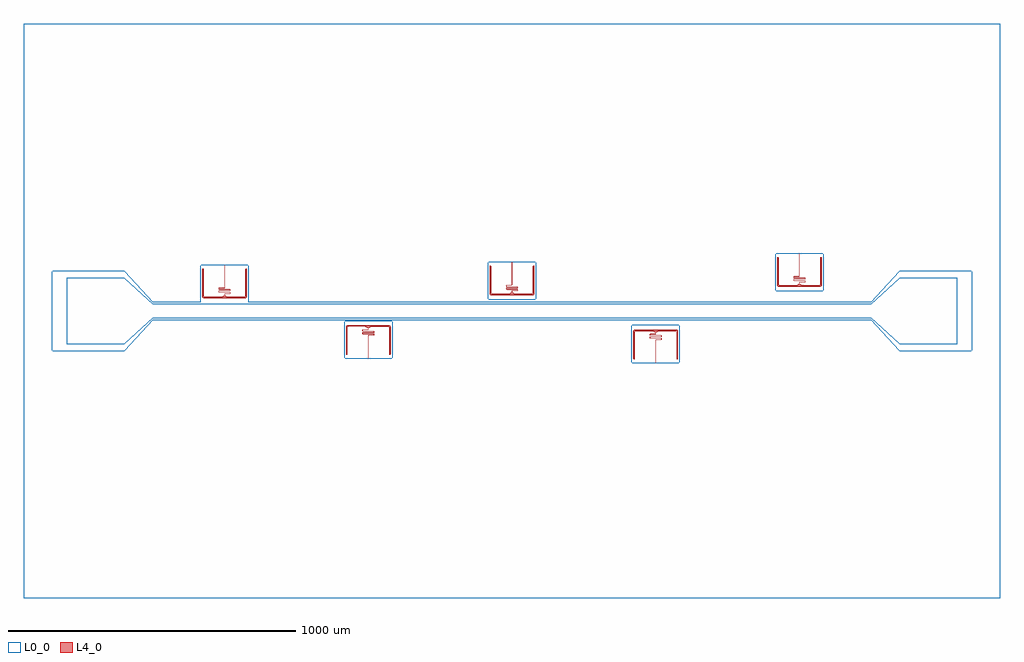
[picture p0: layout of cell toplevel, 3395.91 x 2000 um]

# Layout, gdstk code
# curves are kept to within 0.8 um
import gdstk
lib = gdstk.Library(unit=1e-6, precision=1e-09)
def P(c, l, *ps):  # polygons
    for p in ps: c.add(gdstk.Polygon(p, *l))
L0_0 = (0, 0)
L4_0 = (4, 0)

toplevel = lib.new_cell('toplevel')
P(toplevel, L0_0, [(1697.954,1000),(-1697.954,1000),(-1697.954,-137.954),(-1600,-137.954),(-1600,137.954),(-1350,137.954),(-1250,30.05),(-1082.5,30.05),(-1082.5,160.05),(-917.5,160.05),(-917.5,40.05),(-82.5,40.05),(-82.5,170.05),(82.5,170.05),(82.5,70.05),(917.5,70.05),(917.5,200.05),(1082.5,200.05),(1082.5,70.05),(82.5,70.05),(82.5,40.05),(-917.5,40.05),(-917.5,30.05),(1250,30.05),(1350,137.954),(1600,137.954),(1600,-137.954),(1350,-137.954),(1250,-30.05),(-1250,-30.05),(-1350,-137.954),(-1697.954,-137.954),(-1697.954,-165.05),(-582.5,-165.05),(-582.5,-35.05),(-417.5,-35.05),(-417.5,-165.05),(-1697.954,-165.05),(-1697.954,-180.05),(417.5,-180.05),(417.5,-50.05),(582.5,-50.05),(582.5,-180.05),(-1697.954,-180.05),(-1697.954,-1000),(1697.954,-1000)],
  [(-1250,25.05),(-1350,115),(-1550,115),(-1550,-115),(-1350,-115),(-1250,-25.05),(1250,-25.05),(1350,-115),(1550,-115),(1550,115),(1350,115),(1250,25.05)])
P(toplevel, L4_0, [(-1070.458,45.05),(-1073.313,45.356),(-1075.466,46.473),(-1076.915,48.45),(-1077.475,51.004),(-1077.5,145.05),(-1076.434,147.098),(-1075.109,147.548),(-1073.846,147.268),(-1072.891,146.393),(-1072.502,145.159),(-1072.496,51.622),(-1072.244,50.297),(-1070.62,50.05),(-1010,50.05),(-1000.3,54.95),(-1000.277,59.276),(-999.54,60.18),(-980.418,60.434),(-980.316,64.185),(-980.803,64.639),(-1019.048,64.651),(-1020.263,65.541),(-1020.262,69.365),(-1019.294,70.231),(-981.015,70.25),(-980.327,70.651),(-980.312,74.156),(-980.79,74.637),(-1019.042,74.651),(-1020.256,75.508),(-1020.272,79.308),(-1019.481,80.196),(-1000.971,80.251),(-1000.331,80.633),(-1000.3,159.95),(-999.7,159.95),(-999.747,80.495),(-1000.882,79.654),(-1019.325,79.617),(-1019.692,79.113),(-1019.67,75.64),(-1018.985,75.25),(-980.705,75.231),(-979.738,74.365),(-979.74,70.528),(-980.957,69.651),(-1019.21,69.637),(-1019.688,69.156),(-1019.482,65.344),(-980.088,64.984),(-979.7,61.072),(-980.309,59.778),(-999.599,59.442),(-999.7,54.95),(-990,50.05),(-927.777,50.281),(-927.498,145.159),(-926.915,146.657),(-925.647,147.465),(-924.145,147.399),(-922.952,146.484),(-922.5,145.05),(-922.503,51.613),(-923.1,48.415),(-924.934,46.168),(-926.821,45.32),(-929.332,45.05)],
  [(-500.3,-164.95),(-500.253,-85.495),(-499.118,-84.654),(-480.675,-84.617),(-480.308,-84.113),(-480.329,-80.64),(-481.015,-80.25),(-519.294,-80.231),(-520.262,-79.365),(-520.26,-75.528),(-519.042,-74.651),(-480.79,-74.637),(-480.312,-74.156),(-480.518,-70.344),(-519.912,-69.984),(-520.3,-66.072),(-519.691,-64.778),(-500.401,-64.442),(-500.3,-59.95),(-510,-55.05),(-572.243,-55.296),(-572.502,-150.159),(-573.393,-151.965),(-575.434,-152.512),(-576.915,-151.657),(-577.5,-150.05),(-577.498,-56.688),(-577.23,-54.371),(-576.428,-52.552),(-574.1,-50.635),(-570.668,-50.05),(-429.332,-50.05),(-426.888,-50.303),(-425.002,-51.122),(-423.1,-53.415),(-422.5,-56.93),(-422.502,-150.159),(-423.085,-151.657),(-424.566,-152.512),(-426.607,-151.965),(-427.498,-150.159),(-427.757,-55.296),(-490,-55.05),(-499.7,-59.95),(-499.723,-64.276),(-500.46,-65.18),(-519.582,-65.434),(-519.684,-69.185),(-519.197,-69.639),(-480.952,-69.651),(-479.737,-70.541),(-479.738,-74.365),(-480.706,-75.231),(-518.985,-75.25),(-519.673,-75.651),(-519.688,-79.156),(-519.21,-79.637),(-480.957,-79.651),(-479.744,-80.508),(-479.728,-84.308),(-480.519,-85.196),(-499.029,-85.251),(-499.669,-85.633),(-499.7,-164.95)],
  [(-70.459,55.05),(-73.313,55.356),(-75.466,56.473),(-76.9,58.415),(-77.478,61.059),(-77.5,155.05),(-76.434,157.098),(-75.218,157.54),(-73.943,157.316),(-72.891,156.393),(-72.502,155.159),(-72.498,61.715),(-72.243,60.296),(-70.62,60.05),(-10,60.05),(-0.3,64.95),(-0.277,69.276),(0.46,70.18),(19.582,70.434),(19.684,74.185),(19.197,74.639),(-19.048,74.651),(-20.263,75.541),(-20.262,79.365),(-19.294,80.231),(18.985,80.25),(19.673,80.651),(19.688,84.156),(19.21,84.637),(-19.042,84.651),(-20.256,85.508),(-20.272,89.308),(-19.481,90.196),(-0.971,90.251),(-0.331,90.633),(-0.3,169.95),(0.3,169.95),(0.253,90.495),(-0.882,89.654),(-19.325,89.617),(-19.692,89.113),(-19.67,85.64),(-18.985,85.25),(19.294,85.232),(20.262,84.365),(20.26,80.528),(19.042,79.651),(-19.21,79.637),(-19.688,79.156),(-19.482,75.344),(19.912,74.984),(20.3,71.072),(19.691,69.778),(0.401,69.442),(0.3,64.95),(10,60.05),(72.223,60.281),(72.502,155.159),(73.085,156.657),(74.353,157.465),(75.855,157.399),(77.048,156.484),(77.5,155.05),(77.495,61.512),(76.9,58.415),(75.066,56.168),(73.145,55.311),(70.668,55.05)],
  [(499.7,-179.95),(499.747,-100.495),(500.882,-99.654),(519.325,-99.617),(519.692,-99.113),(519.67,-95.64),(518.985,-95.25),(480.706,-95.232),(479.738,-94.366),(479.74,-90.528),(480.957,-89.651),(519.21,-89.637),(519.688,-89.156),(519.481,-85.344),(480.088,-84.984),(479.7,-81.072),(480.309,-79.778),(499.599,-79.442),(499.7,-74.95),(490,-70.05),(427.751,-70.301),(427.498,-165.159),(426.607,-166.965),(424.566,-167.512),(423.085,-166.657),(422.5,-165.05),(422.502,-71.688),(422.77,-69.371),(423.572,-67.552),(425.865,-65.65),(429.236,-65.051),(570.644,-65.05),(573.112,-65.303),(574.998,-66.122),(576.944,-68.519),(577.5,-71.906),(577.498,-165.159),(576.915,-166.657),(575.434,-167.512),(573.393,-166.965),(572.502,-165.159),(572.243,-70.296),(510,-70.05),(500.3,-74.95),(500.277,-79.276),(499.54,-80.18),(480.418,-80.434),(480.316,-84.185),(480.803,-84.639),(519.048,-84.651),(520.263,-85.541),(520.262,-89.365),(519.294,-90.232),(481.015,-90.25),(480.327,-90.651),(480.312,-94.156),(480.79,-94.637),(519.042,-94.651),(520.256,-95.508),(520.272,-99.308),(519.481,-100.196),(500.971,-100.251),(500.331,-100.633),(500.3,-179.95)],
  [(929.541,85.05),(926.687,85.356),(924.534,86.473),(923.1,88.415),(922.525,91.003),(922.5,185.05),(923.566,187.098),(924.891,187.548),(926.154,187.268),(927.108,186.393),(927.498,185.159),(927.503,91.659),(927.757,90.296),(929.38,90.05),(990,90.05),(999.7,94.95),(999.723,99.276),(1000.46,100.18),(1019.582,100.434),(1019.684,104.185),(1019.197,104.639),(980.952,104.651),(979.737,105.541),(979.738,109.366),(980.705,110.232),(1018.985,110.25),(1019.673,110.651),(1019.688,114.156),(1019.21,114.637),(980.957,114.651),(979.744,115.508),(979.728,119.308),(980.519,120.196),(999.029,120.251),(999.669,120.633),(999.7,199.95),(1000.3,199.95),(1000.253,120.495),(999.118,119.654),(980.675,119.617),(980.308,119.113),(980.329,115.64),(981.015,115.25),(1019.294,115.232),(1020.262,114.366),(1020.26,110.528),(1019.042,109.651),(980.79,109.637),(980.312,109.156),(980.518,105.344),(1019.912,104.984),(1020.3,101.072),(1019.691,99.778),(1000.401,99.442),(1000.3,94.95),(1010,90.05),(1072.218,90.278),(1072.502,185.159),(1073.016,186.572),(1074.353,187.465),(1075.855,187.399),(1077.048,186.484),(1077.5,185.05),(1077.495,91.512),(1076.884,88.381),(1075.066,86.168),(1073.179,85.32),(1070.668,85.05)])

lib.write_gds('toplevel.gds')
